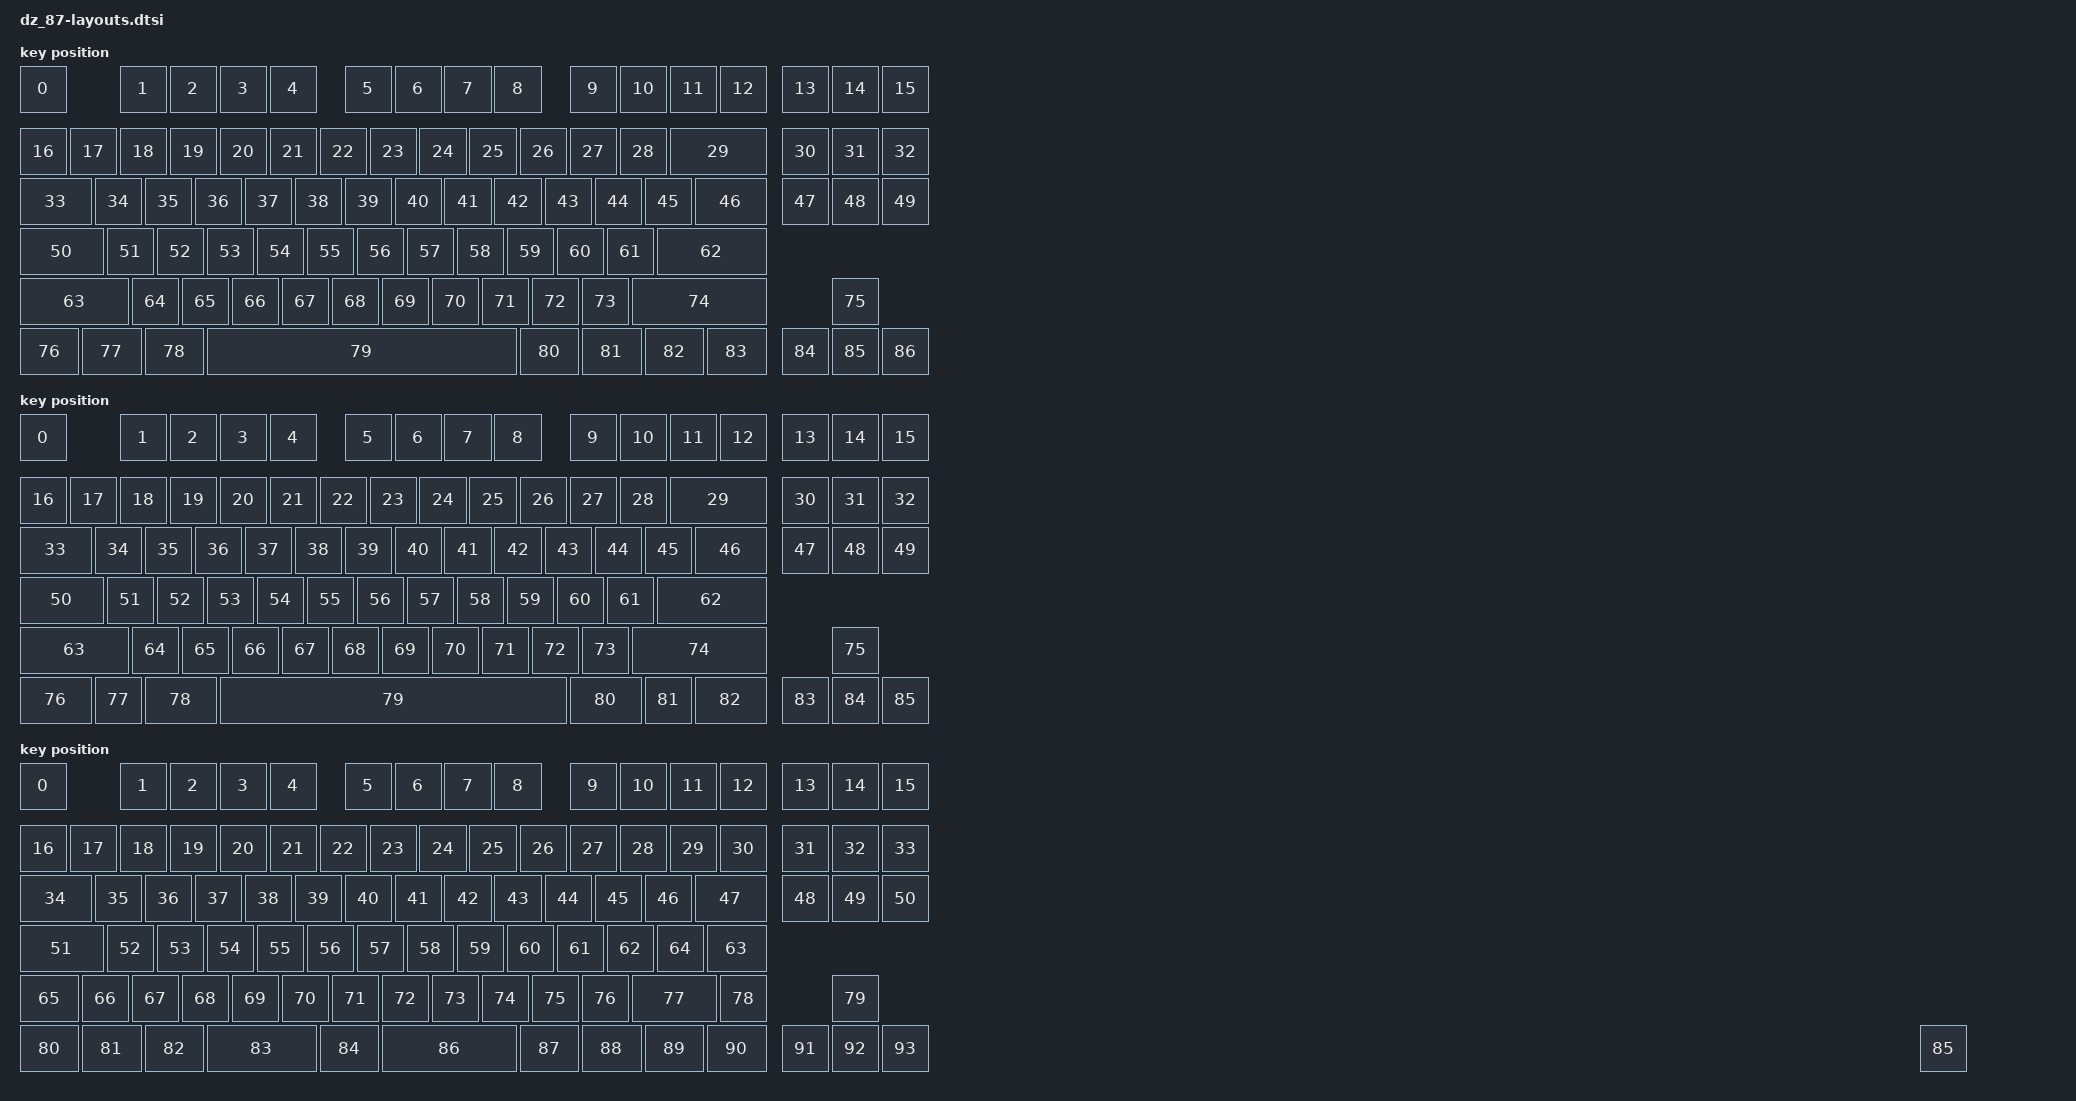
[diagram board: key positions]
#include <physical_layouts.dtsi>

/ {
    dz87_t_625: dz87_t_625 {
        compatible = "zmk,matrix-transform";
        columns = <16>;
        rows = <6>;
        map = <
              0   1   2   3   4   5   6   7   8   9  10  11  12  13  14  15
             16  17  18  19  20  21  22  23  24  25  26  27  28  29  30  31
             62  32  33  34  35  36  37  38  39  40  41  42  43  44  45  46
             47  63  48  49  50  51  52  53  54  55  56  57  58  59  61  64
             66  67  68  69  70  71  72  73  74  75  76  78  80  81  82  86
             90  91  92  93  79  94  95
        >;
    };

    dz87_625: dz87_625 {
        compatible = "zmk,physical-layout";
        display-name = "ANSI 6.25u 空格（标准美式，87键）";
        transform = <&dz87_t_625>;

        keys = //                w   h     x    y    rot rx ry
              <&key_physical_attrs 100 100     0 100   0 0 0>  // m0  ESC
            , <&key_physical_attrs 100 100   200 100   0 0 0>  // m1  F1
            , <&key_physical_attrs 100 100   300 100   0 0 0>  // m2  F2
            , <&key_physical_attrs 100 100   400 100   0 0 0>  // m3  F3
            , <&key_physical_attrs 100 100   500 100   0 0 0>  // m4  F4
            , <&key_physical_attrs 100 100   650 100   0 0 0>  // m5  F5
            , <&key_physical_attrs 100 100   750 100   0 0 0>  // m6  F6
            , <&key_physical_attrs 100 100   850 100   0 0 0>  // m7  F7
            , <&key_physical_attrs 100 100   950 100   0 0 0>  // m8  F8
            , <&key_physical_attrs 100 100  1100 100   0 0 0>  // m9  F9
            , <&key_physical_attrs 100 100  1200 100   0 0 0>  // m10 F10
            , <&key_physical_attrs 100 100  1300 100   0 0 0>  // m11 F11
            , <&key_physical_attrs 100 100  1400 100   0 0 0>  // m12 F12
            , <&key_physical_attrs 100 100  1525 100   0 0 0>  // m13 PRINTSCREEN
            , <&key_physical_attrs 100 100  1625 100   0 0 0>  // m14 SCROLLLOCK
            , <&key_physical_attrs 100 100  1725 100   0 0 0>  // m15 PAUSE_BREAK
            , <&key_physical_attrs 100 100     0 225   0 0 0>  // m16 GRAVE
            , <&key_physical_attrs 100 100   100 225   0 0 0>  // m17 N1
            , <&key_physical_attrs 100 100   200 225   0 0 0>  // m18 N2
            , <&key_physical_attrs 100 100   300 225   0 0 0>  // m19 N3
            , <&key_physical_attrs 100 100   400 225   0 0 0>  // m20 N4
            , <&key_physical_attrs 100 100   500 225   0 0 0>  // m21 N5
            , <&key_physical_attrs 100 100   600 225   0 0 0>  // m22 N6
            , <&key_physical_attrs 100 100   700 225   0 0 0>  // m23 N7
            , <&key_physical_attrs 100 100   800 225   0 0 0>  // m24 N8
            , <&key_physical_attrs 100 100   900 225   0 0 0>  // m25 N9
            , <&key_physical_attrs 100 100  1000 225   0 0 0>  // m26 N0
            , <&key_physical_attrs 100 100  1100 225   0 0 0>  // m27 MINUS
            , <&key_physical_attrs 100 100  1200 225   0 0 0>  // m28 EQUAL
            , <&key_physical_attrs 200 100  1300 225   0 0 0>  // m29 BACKSPACE
            , <&key_physical_attrs 100 100  1525 225   0 0 0>  // m30 INSERT
            , <&key_physical_attrs 100 100  1625 225   0 0 0>  // m31 HOME
            , <&key_physical_attrs 100 100  1725 225   0 0 0>  // m62 PG_UP
            , <&key_physical_attrs 150 100     0 325   0 0 0>  // m32 TAB
            , <&key_physical_attrs 100 100   150 325   0 0 0>  // m33 Q
            , <&key_physical_attrs 100 100   250 325   0 0 0>  // m34 W
            , <&key_physical_attrs 100 100   350 325   0 0 0>  // m35 E
            , <&key_physical_attrs 100 100   450 325   0 0 0>  // m36 R
            , <&key_physical_attrs 100 100   550 325   0 0 0>  // m37 T
            , <&key_physical_attrs 100 100   650 325   0 0 0>  // m38 Y
            , <&key_physical_attrs 100 100   750 325   0 0 0>  // m39 U
            , <&key_physical_attrs 100 100   850 325   0 0 0>  // m40 I
            , <&key_physical_attrs 100 100   950 325   0 0 0>  // m41 O
            , <&key_physical_attrs 100 100  1050 325   0 0 0>  // m42 P
            , <&key_physical_attrs 100 100  1150 325   0 0 0>  // m43 LBKT
            , <&key_physical_attrs 100 100  1250 325   0 0 0>  // m44 RBKT
            , <&key_physical_attrs 150 100  1350 325   0 0 0>  // m45 BACKSLASH
            , <&key_physical_attrs 100 100  1525 325   0 0 0>  // m46 DELETE
            , <&key_physical_attrs 100 100  1625 325   0 0 0>  // m47 END
            , <&key_physical_attrs 100 100  1725 325   0 0 0>  // m63 PG_DN
            , <&key_physical_attrs 175 100     0 425   0 0 0>  // m48 CAPSLOCK
            , <&key_physical_attrs 100 100   175 425   0 0 0>  // m49 A
            , <&key_physical_attrs 100 100   275 425   0 0 0>  // m50 S
            , <&key_physical_attrs 100 100   375 425   0 0 0>  // m51 D
            , <&key_physical_attrs 100 100   475 425   0 0 0>  // m52 F
            , <&key_physical_attrs 100 100   575 425   0 0 0>  // m53 G
            , <&key_physical_attrs 100 100   675 425   0 0 0>  // m54 H
            , <&key_physical_attrs 100 100   775 425   0 0 0>  // m55 J
            , <&key_physical_attrs 100 100   875 425   0 0 0>  // m56 K
            , <&key_physical_attrs 100 100   975 425   0 0 0>  // m57 L
            , <&key_physical_attrs 100 100  1075 425   0 0 0>  // m58 SEMICOLON
            , <&key_physical_attrs 100 100  1175 425   0 0 0>  // m59 SINGLE_QUOTE
            , <&key_physical_attrs 225 100  1275 425   0 0 0>  // m61 ENTER
            , <&key_physical_attrs 225 100     0 525   0 0 0>  // m64 LSHIFT
            , <&key_physical_attrs 100 100   225 525   0 0 0>  // m66 Z
            , <&key_physical_attrs 100 100   325 525   0 0 0>  // m67 X
            , <&key_physical_attrs 100 100   425 525   0 0 0>  // m68 C
            , <&key_physical_attrs 100 100   525 525   0 0 0>  // m69 V
            , <&key_physical_attrs 100 100   625 525   0 0 0>  // m70 B
            , <&key_physical_attrs 100 100   725 525   0 0 0>  // m71 N
            , <&key_physical_attrs 100 100   825 525   0 0 0>  // m72 M
            , <&key_physical_attrs 100 100   925 525   0 0 0>  // m73 COMMA
            , <&key_physical_attrs 100 100  1025 525   0 0 0>  // m74 PERIOD
            , <&key_physical_attrs 100 100  1125 525   0 0 0>  // m75 SLASH
            , <&key_physical_attrs 275 100  1225 525   0 0 0>  // m76 RSHIFT
            , <&key_physical_attrs 100 100  1625 525   0 0 0>  // m78 UP
            , <&key_physical_attrs 125 100     0 625   0 0 0>  // m80 LCTRL
            , <&key_physical_attrs 125 100   125 625   0 0 0>  // m81 LGUI
            , <&key_physical_attrs 125 100   250 625   0 0 0>  // m82 LALT
            , <&key_physical_attrs 625 100   375 625   0 0 0>  // m86 SPACE
            , <&key_physical_attrs 125 100  1000 625   0 0 0>  // m90 RALT
            , <&key_physical_attrs 125 100  1125 625   0 0 0>  // m91 RGUI
            , <&key_physical_attrs 125 100  1250 625   0 0 0>  // m92 1
            , <&key_physical_attrs 125 100  1375 625   0 0 0>  // m93 RCTRL
            , <&key_physical_attrs 100 100  1525 625   0 0 0>  // m79 LEFT
            , <&key_physical_attrs 100 100  1625 625   0 0 0>  // m94 DOWN
            , <&key_physical_attrs 100 100  1725 625   0 0 0>  // m95 RIGHT
            ;
    };

    dz87_t_7u: dz87_t_7u {
        compatible = "zmk,matrix-transform";
        columns = <16>;
        rows = <6>;
        map = <
              0   1   2   3   4   5   6   7   8   9  10  11  12  13  14  15
             16  17  18  19  20  21  22  23  24  25  26  27  28  29  30  31
             62  32  33  34  35  36  37  38  39  40  41  42  43  44  45  46
             47  63  48  49  50  51  52  53  54  55  56  57  58  59  61  64
             66  67  68  69  70  71  72  73  74  75  76  78  80  81  82  86
             90  92  93  79  94  95
        >;
    };

    dz87_7u: dz87_7u {
        compatible = "zmk,physical-layout";
        display-name = "ANSI 7u 空格（无右Win，86键）";
        transform = <&dz87_t_7u>;

        keys = //                w   h     x    y    rot rx ry
              <&key_physical_attrs 100 100     0 100   0 0 0>  // m0  ESC
            , <&key_physical_attrs 100 100   200 100   0 0 0>  // m1  F1
            , <&key_physical_attrs 100 100   300 100   0 0 0>  // m2  F2
            , <&key_physical_attrs 100 100   400 100   0 0 0>  // m3  F3
            , <&key_physical_attrs 100 100   500 100   0 0 0>  // m4  F4
            , <&key_physical_attrs 100 100   650 100   0 0 0>  // m5  F5
            , <&key_physical_attrs 100 100   750 100   0 0 0>  // m6  F6
            , <&key_physical_attrs 100 100   850 100   0 0 0>  // m7  F7
            , <&key_physical_attrs 100 100   950 100   0 0 0>  // m8  F8
            , <&key_physical_attrs 100 100  1100 100   0 0 0>  // m9  F9
            , <&key_physical_attrs 100 100  1200 100   0 0 0>  // m10 F10
            , <&key_physical_attrs 100 100  1300 100   0 0 0>  // m11 F11
            , <&key_physical_attrs 100 100  1400 100   0 0 0>  // m12 F12
            , <&key_physical_attrs 100 100  1525 100   0 0 0>  // m13 PRINTSCREEN
            , <&key_physical_attrs 100 100  1625 100   0 0 0>  // m14 SCROLLLOCK
            , <&key_physical_attrs 100 100  1725 100   0 0 0>  // m15 PAUSE_BREAK
            , <&key_physical_attrs 100 100     0 225   0 0 0>  // m16 GRAVE
            , <&key_physical_attrs 100 100   100 225   0 0 0>  // m17 N1
            , <&key_physical_attrs 100 100   200 225   0 0 0>  // m18 N2
            , <&key_physical_attrs 100 100   300 225   0 0 0>  // m19 N3
            , <&key_physical_attrs 100 100   400 225   0 0 0>  // m20 N4
            , <&key_physical_attrs 100 100   500 225   0 0 0>  // m21 N5
            , <&key_physical_attrs 100 100   600 225   0 0 0>  // m22 N6
            , <&key_physical_attrs 100 100   700 225   0 0 0>  // m23 N7
            , <&key_physical_attrs 100 100   800 225   0 0 0>  // m24 N8
            , <&key_physical_attrs 100 100   900 225   0 0 0>  // m25 N9
            , <&key_physical_attrs 100 100  1000 225   0 0 0>  // m26 N0
            , <&key_physical_attrs 100 100  1100 225   0 0 0>  // m27 MINUS
            , <&key_physical_attrs 100 100  1200 225   0 0 0>  // m28 EQUAL
            , <&key_physical_attrs 200 100  1300 225   0 0 0>  // m29 BACKSPACE
            , <&key_physical_attrs 100 100  1525 225   0 0 0>  // m30 INSERT
            , <&key_physical_attrs 100 100  1625 225   0 0 0>  // m31 HOME
            , <&key_physical_attrs 100 100  1725 225   0 0 0>  // m62 PG_UP
            , <&key_physical_attrs 150 100     0 325   0 0 0>  // m32 TAB
            , <&key_physical_attrs 100 100   150 325   0 0 0>  // m33 Q
            , <&key_physical_attrs 100 100   250 325   0 0 0>  // m34 W
            , <&key_physical_attrs 100 100   350 325   0 0 0>  // m35 E
            , <&key_physical_attrs 100 100   450 325   0 0 0>  // m36 R
            , <&key_physical_attrs 100 100   550 325   0 0 0>  // m37 T
            , <&key_physical_attrs 100 100   650 325   0 0 0>  // m38 Y
            , <&key_physical_attrs 100 100   750 325   0 0 0>  // m39 U
            , <&key_physical_attrs 100 100   850 325   0 0 0>  // m40 I
            , <&key_physical_attrs 100 100   950 325   0 0 0>  // m41 O
            , <&key_physical_attrs 100 100  1050 325   0 0 0>  // m42 P
            , <&key_physical_attrs 100 100  1150 325   0 0 0>  // m43 LBKT
            , <&key_physical_attrs 100 100  1250 325   0 0 0>  // m44 RBKT
            , <&key_physical_attrs 150 100  1350 325   0 0 0>  // m45 BACKSLASH
            , <&key_physical_attrs 100 100  1525 325   0 0 0>  // m46 DELETE
            , <&key_physical_attrs 100 100  1625 325   0 0 0>  // m47 END
            , <&key_physical_attrs 100 100  1725 325   0 0 0>  // m63 PG_DN
            , <&key_physical_attrs 175 100     0 425   0 0 0>  // m48 CAPSLOCK
            , <&key_physical_attrs 100 100   175 425   0 0 0>  // m49 A
            , <&key_physical_attrs 100 100   275 425   0 0 0>  // m50 S
            , <&key_physical_attrs 100 100   375 425   0 0 0>  // m51 D
            , <&key_physical_attrs 100 100   475 425   0 0 0>  // m52 F
            , <&key_physical_attrs 100 100   575 425   0 0 0>  // m53 G
            , <&key_physical_attrs 100 100   675 425   0 0 0>  // m54 H
            , <&key_physical_attrs 100 100   775 425   0 0 0>  // m55 J
            , <&key_physical_attrs 100 100   875 425   0 0 0>  // m56 K
            , <&key_physical_attrs 100 100   975 425   0 0 0>  // m57 L
            , <&key_physical_attrs 100 100  1075 425   0 0 0>  // m58 SEMICOLON
            , <&key_physical_attrs 100 100  1175 425   0 0 0>  // m59 SINGLE_QUOTE
            , <&key_physical_attrs 225 100  1275 425   0 0 0>  // m61 ENTER
            , <&key_physical_attrs 225 100     0 525   0 0 0>  // m64 LSHIFT
            , <&key_physical_attrs 100 100   225 525   0 0 0>  // m66 Z
            , <&key_physical_attrs 100 100   325 525   0 0 0>  // m67 X
            , <&key_physical_attrs 100 100   425 525   0 0 0>  // m68 C
            , <&key_physical_attrs 100 100   525 525   0 0 0>  // m69 V
            , <&key_physical_attrs 100 100   625 525   0 0 0>  // m70 B
            , <&key_physical_attrs 100 100   725 525   0 0 0>  // m71 N
            , <&key_physical_attrs 100 100   825 525   0 0 0>  // m72 M
            , <&key_physical_attrs 100 100   925 525   0 0 0>  // m73 COMMA
            , <&key_physical_attrs 100 100  1025 525   0 0 0>  // m74 PERIOD
            , <&key_physical_attrs 100 100  1125 525   0 0 0>  // m75 SLASH
            , <&key_physical_attrs 275 100  1225 525   0 0 0>  // m76 RSHIFT
            , <&key_physical_attrs 100 100  1625 525   0 0 0>  // m78 UP
            , <&key_physical_attrs 150 100     0 625   0 0 0>  // m80 LCTRL
            , <&key_physical_attrs 100 100   150 625   0 0 0>  // m81 LGUI
            , <&key_physical_attrs 150 100   250 625   0 0 0>  // m82 LALT
            , <&key_physical_attrs 700 100   400 625   0 0 0>  // m86 SPACE
            , <&key_physical_attrs 150 100  1100 625   0 0 0>  // m90 RALT
            , <&key_physical_attrs 100 100  1250 625   0 0 0>  // m92 1
            , <&key_physical_attrs 150 100  1350 625   0 0 0>  // m93 RCTRL
            , <&key_physical_attrs 100 100  1525 625   0 0 0>  // m79 LEFT
            , <&key_physical_attrs 100 100  1625 625   0 0 0>  // m94 DOWN
            , <&key_physical_attrs 100 100  1725 625   0 0 0>  // m95 RIGHT
            ;
    };

    dz87_t_all: dz87_t_all {
        compatible = "zmk,matrix-transform";
        columns = <16>;
        rows = <6>;
        map = <
                0   1   2   3   4   5   6   7   8   9  10  11  12  13  14  15
               16  17  18  19  20  21  22  23  24  25  26  27  28  29  89  30
               31  62  32  33  34  35  36  37  38  39  40  41  42  43  44  45
               46  47  63  48  49  50  51  52  53  54  55  56  57  58  45  60
               45  64  45  66  67  68  69  70  71  72  73  74  75  76  45  78
               80  81  82  84  85  86  88  90  91  92  93  79  94  95
        >;
    };

    dz87_all: dz87_all {
        compatible = "zmk,physical-layout";
        display-name = "全轴通用 ALL（94轴，焊任何变体/ISO轴都能改键）";
        transform = <&dz87_t_all>;

        keys = //                w   h     x    y    rot rx ry
              <&key_physical_attrs 100 100     0 100   0 0 0>  // p 0 m0  ESC
            , <&key_physical_attrs 100 100   200 100   0 0 0>  // p 1 m1  F1
            , <&key_physical_attrs 100 100   300 100   0 0 0>  // p 2 m2  F2
            , <&key_physical_attrs 100 100   400 100   0 0 0>  // p 3 m3  F3
            , <&key_physical_attrs 100 100   500 100   0 0 0>  // p 4 m4  F4
            , <&key_physical_attrs 100 100   650 100   0 0 0>  // p 5 m5  F5
            , <&key_physical_attrs 100 100   750 100   0 0 0>  // p 6 m6  F6
            , <&key_physical_attrs 100 100   850 100   0 0 0>  // p 7 m7  F7
            , <&key_physical_attrs 100 100   950 100   0 0 0>  // p 8 m8  F8
            , <&key_physical_attrs 100 100  1100 100   0 0 0>  // p 9 m9  F9
            , <&key_physical_attrs 100 100  1200 100   0 0 0>  // p10 m10 F10
            , <&key_physical_attrs 100 100  1300 100   0 0 0>  // p11 m11 F11
            , <&key_physical_attrs 100 100  1400 100   0 0 0>  // p12 m12 F12
            , <&key_physical_attrs 100 100  1525 100   0 0 0>  // p13 m13 PRINTSCREEN
            , <&key_physical_attrs 100 100  1625 100   0 0 0>  // p14 m14 SCROLLLOCK
            , <&key_physical_attrs 100 100  1725 100   0 0 0>  // p15 m15 PAUSE_BREAK
            , <&key_physical_attrs 100 100     0 225   0 0 0>  // p16 m16 GRAVE
            , <&key_physical_attrs 100 100   100 225   0 0 0>  // p17 m17 N1
            , <&key_physical_attrs 100 100   200 225   0 0 0>  // p18 m18 N2
            , <&key_physical_attrs 100 100   300 225   0 0 0>  // p19 m19 N3
            , <&key_physical_attrs 100 100   400 225   0 0 0>  // p20 m20 N4
            , <&key_physical_attrs 100 100   500 225   0 0 0>  // p21 m21 N5
            , <&key_physical_attrs 100 100   600 225   0 0 0>  // p22 m22 N6
            , <&key_physical_attrs 100 100   700 225   0 0 0>  // p23 m23 N7
            , <&key_physical_attrs 100 100   800 225   0 0 0>  // p24 m24 N8
            , <&key_physical_attrs 100 100   900 225   0 0 0>  // p25 m25 N9
            , <&key_physical_attrs 100 100  1000 225   0 0 0>  // p26 m26 N0
            , <&key_physical_attrs 100 100  1100 225   0 0 0>  // p27 m27 MINUS
            , <&key_physical_attrs 100 100  1200 225   0 0 0>  // p28 m28 EQUAL
            , <&key_physical_attrs 100 100  1300 225   0 0 0>  // p29 m29 BACKSPACE(分裂退格左半)
            , <&key_physical_attrs 100 100  1400 225   0 0 0>  // p30 m89 BACKSPACE(分裂退格右半)
            , <&key_physical_attrs 100 100  1525 225   0 0 0>  // p31 m30 INSERT
            , <&key_physical_attrs 100 100  1625 225   0 0 0>  // p32 m31 HOME
            , <&key_physical_attrs 100 100  1725 225   0 0 0>  // p33 m62 PG_UP
            , <&key_physical_attrs 150 100     0 325   0 0 0>  // p34 m32 TAB
            , <&key_physical_attrs 100 100   150 325   0 0 0>  // p35 m33 Q
            , <&key_physical_attrs 100 100   250 325   0 0 0>  // p36 m34 W
            , <&key_physical_attrs 100 100   350 325   0 0 0>  // p37 m35 E
            , <&key_physical_attrs 100 100   450 325   0 0 0>  // p38 m36 R
            , <&key_physical_attrs 100 100   550 325   0 0 0>  // p39 m37 T
            , <&key_physical_attrs 100 100   650 325   0 0 0>  // p40 m38 Y
            , <&key_physical_attrs 100 100   750 325   0 0 0>  // p41 m39 U
            , <&key_physical_attrs 100 100   850 325   0 0 0>  // p42 m40 I
            , <&key_physical_attrs 100 100   950 325   0 0 0>  // p43 m41 O
            , <&key_physical_attrs 100 100  1050 325   0 0 0>  // p44 m42 P
            , <&key_physical_attrs 100 100  1150 325   0 0 0>  // p45 m43 LBKT
            , <&key_physical_attrs 100 100  1250 325   0 0 0>  // p46 m44 RBKT
            , <&key_physical_attrs 150 100  1350 325   0 0 0>  // p47 m45 BACKSLASH(ANSI变体,与ISO竖回车同位)
            , <&key_physical_attrs 100 100  1525 325   0 0 0>  // p48 m46 DELETE
            , <&key_physical_attrs 100 100  1625 325   0 0 0>  // p49 m47 END
            , <&key_physical_attrs 100 100  1725 325  0 0 0>  // p50 m63 PG_DN
            , <&key_physical_attrs 175 100     0 425   0 0 0>  // p51 m48 CAPSLOCK
            , <&key_physical_attrs 100 100   175 425   0 0 0>  // p52 m49 A
            , <&key_physical_attrs 100 100   275 425   0 0 0>  // p53 m50 S
            , <&key_physical_attrs 100 100   375 425   0 0 0>  // p54 m51 D
            , <&key_physical_attrs 100 100   475 425   0 0 0>  // p55 m52 F
            , <&key_physical_attrs 100 100   575 425   0 0 0>  // p56 m53 G
            , <&key_physical_attrs 100 100   675 425   0 0 0>  // p57 m54 H
            , <&key_physical_attrs 100 100   775 425   0 0 0>  // p58 m55 J
            , <&key_physical_attrs 100 100   875 425   0 0 0>  // p59 m56 K
            , <&key_physical_attrs 100 100   975 425   0 0 0>  // p60 m57 L
            , <&key_physical_attrs 100 100  1075 425   0 0 0>  // p61 m58 SEMICOLON
            , <&key_physical_attrs 100 100  1175 425   0 0 0>  // p62 m59 SINGLE_QUOTE
            , <&key_physical_attrs 125 100  1375 425   0 0 0>  // p63 m60 ENTER(ISO回车 1.25u 下移一行)
            , <&key_physical_attrs 100 100  1275 425   0 0 0>  // p64 m61 ENTER(ISO横段1u)
            , <&key_physical_attrs 125 100     0 525   0 0 0>  // p65 m64 LSHIFT(ISO 1.25u)
            , <&key_physical_attrs 100 100   125 525   0 0 0>  // p66 m65 NON_US_BACKSLASH(ISO NUBS)
            , <&key_physical_attrs 100 100   225 525   0 0 0>  // p67 m66 Z
            , <&key_physical_attrs 100 100   325 525   0 0 0>  // p68 m67 X
            , <&key_physical_attrs 100 100   425 525   0 0 0>  // p69 m68 C
            , <&key_physical_attrs 100 100   525 525   0 0 0>  // p70 m69 V
            , <&key_physical_attrs 100 100   625 525   0 0 0>  // p71 m70 B
            , <&key_physical_attrs 100 100   725 525   0 0 0>  // p72 m71 N
            , <&key_physical_attrs 100 100   825 525   0 0 0>  // p73 m72 M
            , <&key_physical_attrs 100 100   925 525   0 0 0>  // p74 m73 COMMA
            , <&key_physical_attrs 100 100  1025 525   0 0 0>  // p75 m74 PERIOD
            , <&key_physical_attrs 100 100  1125 525   0 0 0>  // p76 m75 SLASH
            , <&key_physical_attrs 175 100  1225 525   0 0 0>  // p77 m76 RSHIFT(ISO 1.75u)
            , <&key_physical_attrs 100 100  1400 525   0 0 0>  // p78 m77 MO2(右shift旁1u变体键)
            , <&key_physical_attrs 100 100  1625 525   0 0 0>  // p79 m78 UP
            , <&key_physical_attrs 125 100     0 625   0 0 0>  // p80 m80 LCTRL
            , <&key_physical_attrs 125 100   125 625   0 0 0>  // p81 m81 LGUI
            , <&key_physical_attrs 125 100   250 625   0 0 0>  // p82 m82 LALT
            , <&key_physical_attrs 225 100   375 625   0 0 0>  // p83 m84 SPACE(分裂空格左2.25u)
            , <&key_physical_attrs 125 100   600 625   0 0 0>  // p84 m85 SPACE(分裂空格中1.25u)
            , <&key_physical_attrs 100 100  3800 625   0 0 0>  // p85 m86 SPACE(6.25u整空格变体,不焊接 已移出显示)
            , <&key_physical_attrs 275 100   725 625   0 0 0>  // p86 m88 SPACE(分裂空格右2.75u)
            , <&key_physical_attrs 125 100  1000 625   0 0 0>  // p87 m90 RALT
            , <&key_physical_attrs 125 100  1125 625   0 0 0>  // p88 m91 RGUI
            , <&key_physical_attrs 125 100  1250 625   0 0 0>  // p89 m92 FN(mo1)
            , <&key_physical_attrs 125 100  1375 625   0 0 0>  // p90 m93 RCTRL
            , <&key_physical_attrs 100 100  1525 625   0 0 0>  // p91 m79 LEFT
            , <&key_physical_attrs 100 100  1625 625   0 0 0>  // p92 m94 DOWN
            , <&key_physical_attrs 100 100  1725 625   0 0 0>  // p93 m95 RIGHT
         

            ;
    };

    dz87_position_map: dz87_position_map {
        compatible = "zmk,physical-layout-position-map";
        complete;

        dz87_all_pm: dz87_all_pm {
            physical-layout = <&dz87_all>;
            positions = <
                0   1   2   3   4   5   6   7   8   9  10  11  12  13  14  15
               16  17  18  19  20  21  22  23  24  25  26  27  28  29  30  31
               32  33  34  35  36  37  38  39  40  41  42  43  44  45  46  47
               48  49  50  51  52  53  54  55  56  57  58  59  60  61  62  63
               64  65  66  67  68  69  70  71  72  73  74  75  76  77  78  79
               80  81  82  83  84  85  86  87  88  89  90  91  92  93
            >;
        };

        dz87_625_pm: dz87_625_pm {
            physical-layout = <&dz87_625>;
            positions = <
              0   1   2   3   4   5   6   7   8   9  10  11  12  13  14  15
             16  17  18  19  20  21  22  23  24  25  26  27  28  29  29  30
             31  32  33  34  35  36  37  38  39  40  41  42  43  44  45  46
             47  48  49  50  51  52  53  54  55  56  57  58  59  60  61  87
             62  63  88  64  65  66  67  68  69  70  71  72  73  74  89  75
             76  77  78  79  79  79  79  80  81  82  83  84  85  86
            >;
        };

        dz87_7u_pm: dz87_7u_pm {
            physical-layout = <&dz87_7u>;
            positions = <
              0   1   2   3   4   5   6   7   8   9  10  11  12  13  14  15
             16  17  18  19  20  21  22  23  24  25  26  27  28  29  29  30
             31  32  33  34  35  36  37  38  39  40  41  42  43  44  45  46
             47  48  49  50  51  52  53  54  55  56  57  58  59  60  61  86
             62  63  87  64  65  66  67  68  69  70  71  72  73  74  88  75
             76  77  78  79  79  79  79  80  89  81  82  83  84  85
            >;
        };
    };
};
